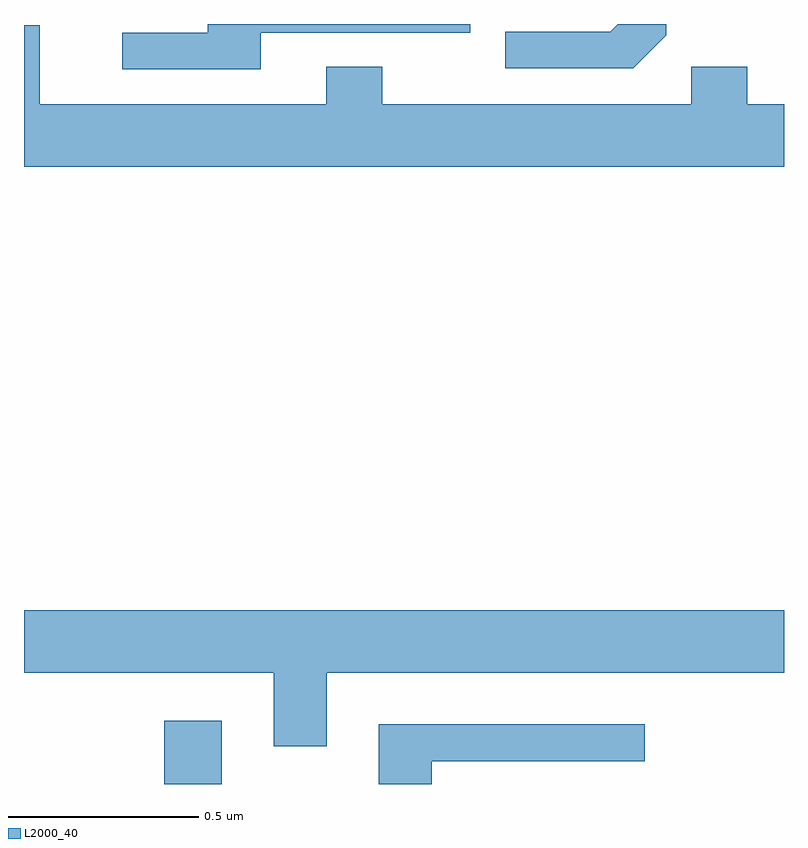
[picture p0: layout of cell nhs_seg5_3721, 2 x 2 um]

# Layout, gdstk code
import gdstk
lib = gdstk.Library(unit=1e-6, precision=1e-09)
def R(c, l, rs):  # rectangles x0, y0, x1, y1
    for r in rs: c.add(gdstk.rectangle(r[:2], r[2:], *l))
def P(c, l, *ps):  # polygons
    for p in ps: c.add(gdstk.Polygon(p, *l))
L2000_40 = (2000, 40)

nhs_seg5_3721 = lib.new_cell('nhs_seg5_3721')
R(nhs_seg5_3721, L2000_40, [(161.369,857.799,161.521,857.965)])
P(nhs_seg5_3721, L2000_40, [(161.623,859.776),(162.174,859.776),(162.174,859.799),(161.483,859.799),(161.483,859.776),(161.259,859.776),(161.259,859.68),(161.623,859.68)],
  [(162.69,859.77),(162.69,859.799),(162.563,859.799),(162.543,859.779),(162.267,859.779),(162.267,859.683),(162.603,859.683)],
  [(163,859.588),(162.903,859.588),(162.903,859.687),(162.756,859.687),(162.756,859.588),(161.943,859.588),(161.943,859.687),(161.795,859.687),(161.795,859.588),(161.041,859.588),(161.041,859.796),(161,859.796),(161,859.424),(163,859.424)],
  [(161.797,858.092),(163,858.092),(163,858.256),(161,858.256),(161,858.092),(161.657,858.092),(161.657,857.898),(161.797,857.898)],
  [(162.073,857.859),(162.634,857.859),(162.634,857.956),(161.933,857.956),(161.933,857.799),(162.073,857.799)])

lib.write_gds('nhs_seg5_3721.gds')
